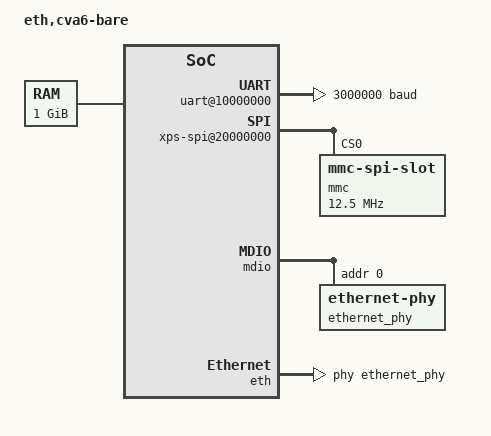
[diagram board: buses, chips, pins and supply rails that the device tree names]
/dts-v1/;

/ {
  #address-cells = <2>;
  #size-cells = <2>;
  compatible = "eth,cva6-bare-dev";
  model = "eth,cva6-bare";
  chosen {
    stdout-path = "/soc/uart@10000000:3000000";
  };
  cpus {
    #address-cells = <1>;
    #size-cells = <0>;
    timebase-frequency = <25000000>;
    CPU0: cpu@0 {
      clock-frequency = <50000000>;
      device_type = "cpu";
      reg = <0>;
      status = "okay";
      compatible = "eth, cva6", "riscv";
      riscv,base = "rv64i";
      riscv,isa-extensions = "i", "m", "a", "f", "d", "c", "b",
                             "zifencei", "zicsr",
                             "zicntr", "zihpm",
                             "zbc", "zcb", "zkn";
      mmu-type = "riscv,sv39";
      tlb-split;
      CPU0_intc: interrupt-controller {
        #interrupt-cells = <1>;
        interrupt-controller;
        compatible = "riscv,cpu-intc";
      };
    };
  };
  memory@80000000 {
    device_type = "memory";
    reg = <0x0 0x80000000 0x0 0x40000000>;
  };
  soc {
    #address-cells = <2>;
    #size-cells = <2>;
    compatible = "eth,cva6-bare-soc", "simple-bus";
    ranges;
    clint@2000000 {
      compatible = "riscv,clint0";
      interrupts-extended = <&CPU0_intc 3 &CPU0_intc 7>;
      reg = <0x0 0x2000000 0x0 0xc0000>;
      reg-names = "control";
    };
    PLIC0: interrupt-controller@c000000 {
      #address-cells = <0>;
      #interrupt-cells = <1>;
      compatible = "riscv,plic0";
      interrupt-controller;
      interrupts-extended = <&CPU0_intc 11 &CPU0_intc 9>;
      reg = <0x0 0xc000000 0x0 0x4000000>;
      riscv,max-priority = <7>;
      riscv,ndev = <30>;
    };
    uart@10000000 {
      compatible = "ns16750", "ns16550";
      reg = <0x0 0x10000000 0x0 0x1000>;
      clock-frequency = <48000000>;
      current-speed = <3000000>;
      interrupt-parent = <&PLIC0>;
      interrupts = <1>;
      reg-shift = <2>;
      reg-io-width = <4>;
    };
    timer@18000000 {
      compatible = "pulp,apb_timer";
      interrupts = <0x00000004 0x00000005 0x00000006 0x00000007>;
      reg = <0x00000000 0x18000000 0x00000000 0x00001000>;
      interrupt-parent = <&PLIC0>;
      reg-names = "control";
    };
    xps-spi@20000000 {
      compatible = "xlnx,xps-spi-2.00.b", "xlnx,xps-spi-2.00.a";
      #address-cells = <1>;
      #size-cells = <0>;
      interrupt-parent = <&PLIC0>;
      interrupts = <2 2>;
      reg = <0x0 0x20000000 0x0 0x1000>;
      fifo-size = <256>;
      xlnx,family = "kintex7";
      xlnx,fifo-exist = <0x1>;
      xlnx,num-ss-bits = <0x1>;
      xlnx,num-transfer-bits = <0x8>;
      xlnx,sck-ratio = <0x4>;
      mmc@0 {
        compatible = "mmc-spi-slot";
        reg = <0>;
        spi-max-frequency = <12500000>;
        voltage-ranges = <3300 3300>;
        disable-wp;
      };
    };
    mdio {
      #address-cells = <1>;
      #size-cells = <0>;
      ethernet_phy: ethernet-phy@0 {
        reg = <0>;
      };
    };
    eth: lowrisc-eth@30000000 {
      compatible = "lowrisc-eth";
      device_type = "network";
      interrupt-parent = <&PLIC0>;
      interrupts = <3 0>;
      local-mac-address = [00 18 3e 02 e3 7f];
      reg = <0x0 0x30000000 0x0 0x8000>;
      phy-handle = <&ethernet_phy>;
    };
    xlnx_gpio: gpio@40000000 {
      #gpio-cells = <2>;
      compatible = "xlnx,xps-gpio-1.00.a";
      gpio-controller;
      reg = <0x0 0x40000000 0x0 0x10000>;
      xlnx,all-inputs = <0x0>;
      xlnx,all-inputs-2 = <0x1>;
      xlnx,dout-default = <0x0>;
      xlnx,dout-default-2 = <0x0>;
      xlnx,gpio-width = <0x20>;
      xlnx,gpio2-width = <0x20>;
      xlnx,interrupt-present = <0x0>;
      xlnx,is-dual = <0x1>;
      xlnx,tri-default = <0xffffffff>;
      xlnx,tri-default-2 = <0xffffffff>;
    };
  };
};
